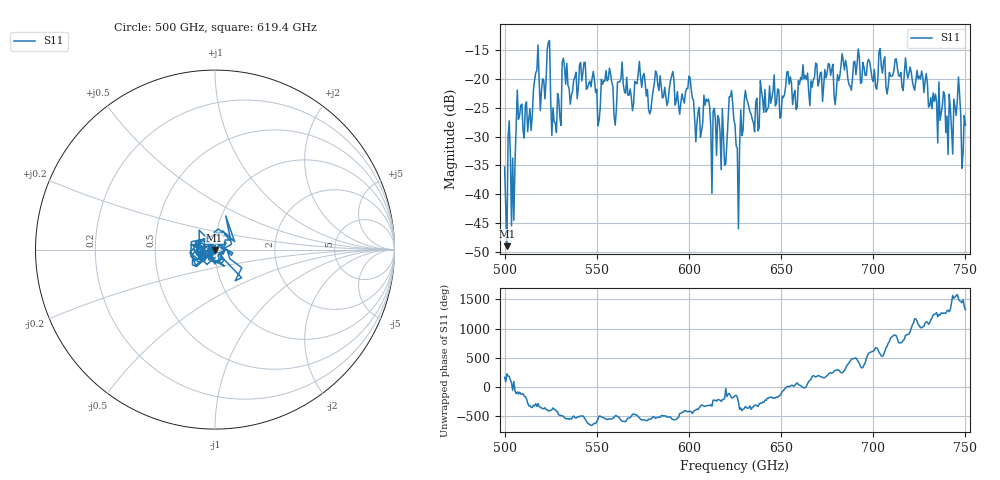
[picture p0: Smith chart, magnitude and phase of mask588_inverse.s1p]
!Created with skrf (http://scikit-rf.org).
# GHz S MA R 50.0
!freq magS11 angS11
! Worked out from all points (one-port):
!   401 points, 500 GHz to 750 GHz, reference 50 ohm
!   lowest |S11| = -49.0 dB at 501.2 GHz (marker M1), VSWR 1.01, Z = 49.7 - j0.236 ohm
!   |S11| at or under -10 dB: start of sweep to end of sweep
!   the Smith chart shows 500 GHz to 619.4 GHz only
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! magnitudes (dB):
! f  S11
! 500 GHz  -35.3
! 501.2 GHz  -49.0
! 504.4 GHz  -33.8
! 507.5 GHz  -27.0
! 513.8 GHz  -25.2
! 517.5 GHz  -18.6
! 520.6 GHz  -20.0
! 523.8 GHz  -13.7
! 526.9 GHz  -27.4
! 531.2 GHz  -17.1
! 542.5 GHz  -18.9
! 550.6 GHz  -28.1
! 562.5 GHz  -20.5
! 593.8 GHz  -22.2
! 600 GHz  -19.5
! 605 GHz  -25.7
! 609.4 GHz  -23.5
! 618.8 GHz  -30.1
! 622.5 GHz  -23.1
! 625 GHz  -28.0
! 626.2 GHz  -32.1
! 631.2 GHz  -23.4
! 656.2 GHz  -24.5
! 680 GHz  -22.1
! 683.8 GHz  -16.8
! 687.5 GHz  -21.2
! 718.8 GHz  -19.9
! 750 GHz  -28.0
